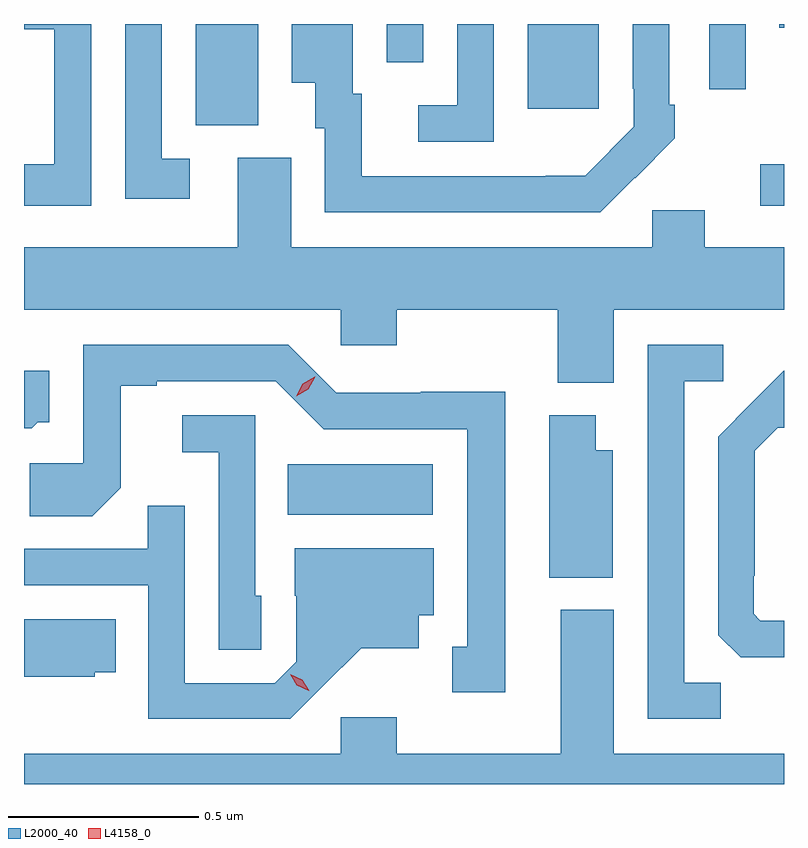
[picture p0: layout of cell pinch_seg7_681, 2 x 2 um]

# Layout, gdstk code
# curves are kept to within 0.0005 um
import gdstk
lib = gdstk.Library(unit=1e-6, precision=1e-09)
def R(c, l, rs):  # rectangles x0, y0, x1, y1
    for r in rs: c.add(gdstk.rectangle(r[:2], r[2:], *l))
def P(c, l, *ps):  # polygons
    for p in ps: c.add(gdstk.Polygon(p, *l))
L2000_40 = (2000, 40)
L4158_0 = (4158, 0)

pinch_seg7_681 = lib.new_cell('pinch_seg7_681')
R(pinch_seg7_681, L2000_40, [(131.818,1008.068,132.199,1008.202), (133.062,1008.882,133.124,1008.991), (131.576,1009.093,131.74,1009.36), (132.449,1009.137,132.637,1009.36), (132.927,1009.188,133.023,1009.36), (132.078,1009.26,132.174,1009.36), (133.112,1009.35,133.124,1009.36)])
P(pinch_seg7_681, L2000_40, [(131.56,1009.005),(131.487,1009.005),(131.487,1009.36),(131.391,1009.36),(131.391,1008.9),(131.56,1008.9)],
  [(131.301,1009.36),(131.124,1009.36),(131.124,1009.346),(131.204,1009.346),(131.204,1008.991),(131.124,1008.991),(131.124,1008.882),(131.301,1008.882)],
  [(132.731,1008.955),(132.732,1008.954),(132.837,1009.059),(132.837,1009.147),(132.822,1009.147),(132.822,1009.36),(132.726,1009.36),(132.726,1009.189),(132.729,1009.189),(132.729,1009.089),(132.601,1008.961),(132.497,1008.961),(132.497,1008.96),(132.013,1008.96),(132.013,1009.176),(131.989,1009.176),(131.989,1009.36),(131.828,1009.36),(131.828,1009.205),(131.891,1009.205),(131.891,1009.086),(131.916,1009.086),(131.916,1008.864),(132.64,1008.864)],
  [(132.36,1009.36),(132.264,1009.36),(132.264,1009.146),(132.162,1009.146),(132.162,1009.05),(132.36,1009.05)],
  [(131.827,1009.008),(131.687,1009.008),(131.687,1008.772),(131.124,1008.772),(131.124,1008.608),(131.958,1008.608),(131.958,1008.515),(132.105,1008.515),(132.105,1008.608),(132.529,1008.608),(132.529,1008.416),(132.676,1008.416),(132.676,1008.608),(133.124,1008.608),(133.124,1008.772),(132.916,1008.772),(132.916,1008.87),(132.777,1008.87),(132.777,1008.772),(131.827,1008.772)],
  [(132.391,1008.392),(132.168,1008.392),(132.168,1008.39),(131.946,1008.39),(131.82,1008.516),(131.28,1008.516),(131.28,1008.204),(131.139,1008.204),(131.139,1008.064),(131.303,1008.064),(131.379,1008.14),(131.379,1008.408),(131.473,1008.408),(131.473,1008.42),(131.787,1008.42),(131.913,1008.294),(132.29,1008.294),(132.29,1007.721),(132.251,1007.721),(132.251,1007.601),(132.391,1007.601)],
  [(132.957,1007.627),(132.861,1007.627),(132.861,1008.42),(132.964,1008.42),(132.964,1008.516),(132.765,1008.516),(132.765,1007.532),(132.957,1007.532)],
  [(131.16,1008.312),(131.191,1008.312),(131.191,1008.448),(131.124,1008.448),(131.124,1008.296),(131.144,1008.296)],
  [(133.124,1007.79),(133.062,1007.79),(133.044,1007.808),(133.044,1007.908),(133.047,1007.908),(133.047,1008.237),(133.107,1008.297),(133.124,1008.297),(133.124,1008.448),(133.123,1008.448),(132.951,1008.274),(132.951,1007.752),(133.01,1007.693),(133.124,1007.693)],
  [(132.673,1008.238),(132.628,1008.238),(132.628,1008.331),(132.506,1008.331),(132.506,1007.903),(132.673,1007.903)],
  [(131.748,1007.856),(131.733,1007.856),(131.733,1008.33),(131.541,1008.33),(131.541,1008.233),(131.637,1008.233),(131.637,1007.713),(131.748,1007.713)],
  [(131.908,1007.615),(132.011,1007.717),(132.163,1007.717),(132.163,1007.804),(132.202,1007.804),(132.202,1007.98),(131.837,1007.98),(131.837,1007.856),(131.841,1007.856),(131.841,1007.682),(131.784,1007.625),(131.547,1007.625),(131.547,1008.092),(131.449,1008.092),(131.449,1007.979),(131.124,1007.979),(131.124,1007.883),(131.451,1007.883),(131.451,1007.532),(131.824,1007.532)],
  [(133.124,1007.44),(132.676,1007.44),(132.676,1007.818),(132.536,1007.818),(132.536,1007.44),(132.105,1007.44),(132.105,1007.536),(131.958,1007.536),(131.958,1007.44),(131.124,1007.44),(131.124,1007.36),(133.124,1007.36)],
  [(131.31,1007.654),(131.366,1007.654),(131.366,1007.794),(131.124,1007.794),(131.124,1007.642),(131.31,1007.642)])
P(pinch_seg7_681, L4158_0, [(131.84,1008.38),(131.84,1008.38),(131.858,1008.413),(131.889,1008.432),(131.89,1008.432),(131.89,1008.432),(131.872,1008.399),(131.84,1008.38)],
  [(131.873,1007.605),(131.842,1007.62),(131.825,1007.649),(131.825,1007.649),(131.825,1007.649),(131.856,1007.635),(131.874,1007.605),(131.874,1007.605)])

lib.write_gds('pinch_seg7_681.gds')
